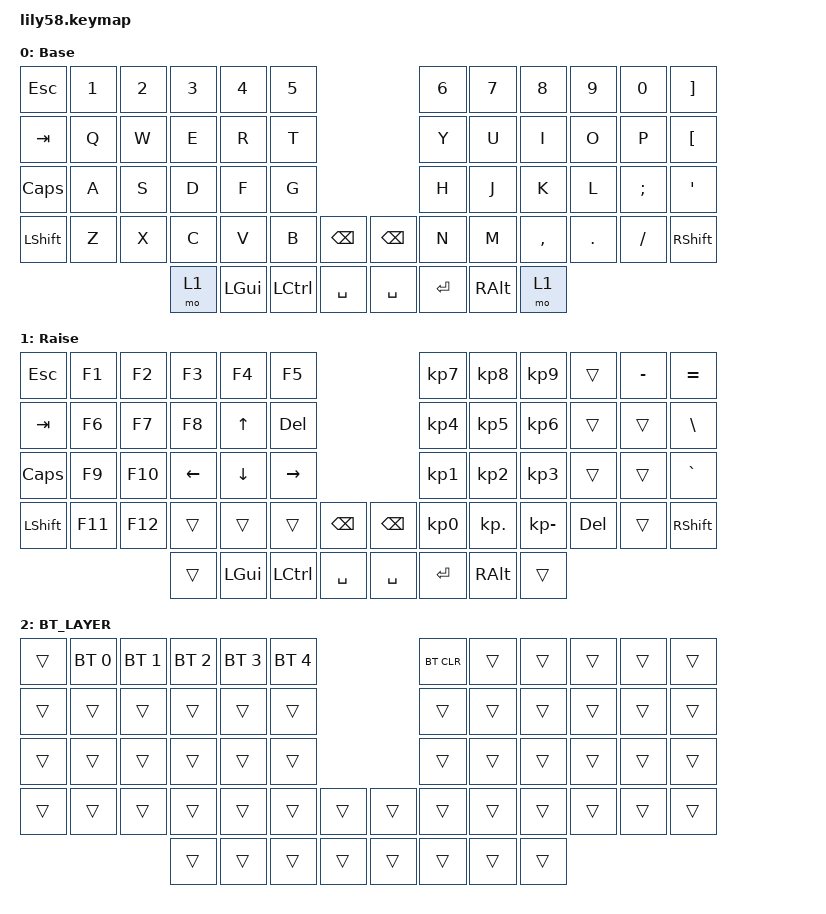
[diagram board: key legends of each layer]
/*
 * Copyright (c) 2020 The ZMK Contributors
 *
 * SPDX-License-Identifier: MIT
 */

#include <behaviors.dtsi>
#include <dt-bindings/zmk/bt.h>
#include <dt-bindings/zmk/keys.h>

/ {
    combos {
        compatible = "zmk,combos";

        BT_LAYER {
            bindings = <&mo 2>;
            key-positions = <50 57>;
        };
    };

    keymap {
        compatible = "zmk,keymap";

        default_layer {
            // ------------------------------------------------------------------------------------------------------------
            // |  ESC  |  1  |  2  |  3   |  4   |  5   |                   |  6   |  7    |  8    |  9   |   0   |   `   |
            // |  TAB  |  Q  |  W  |  E   |  R   |  T   |                   |  Y   |  U    |  I    |  O   |   P   |   -   |
            // |  CTRL |  A  |  S  |  D   |  F   |  G   |                   |  H   |  J    |  K    |  L   |   ;   |   '   |
            // | SHIFT |  Z  |  X  |  C   |  V   |  B   |   "["  |  |  "]"  |  N   |  M    |  ,    |  .   |   /   | SHIFT |
            //                     | ALT  | GUI  | LOWER|  SPACE |  | ENTER | RAISE| BSPC  | GUI   |

            display-name = "Base";
            bindings = <
&kp ESC    &kp N1  &kp N2  &kp N3  &kp N4    &kp N5                             &kp N6     &kp N7    &kp N8     &kp N9   &kp N0    &kp RBKT
&kp TAB    &kp Q   &kp W   &kp E   &kp R     &kp T                              &kp Y      &kp U     &kp I      &kp O    &kp P     &kp LBKT
&kp CAPS   &kp A   &kp S   &kp D   &kp F     &kp G                              &kp H      &kp J     &kp K      &kp L    &kp SEMI  &kp SQT
&kp LSHFT  &kp Z   &kp X   &kp C   &kp V     &kp B      &kp BSPC     &kp BSPC   &kp N      &kp M     &kp COMMA  &kp DOT  &kp FSLH  &kp RSHFT
                           &mo 1   &kp LGUI  &kp LCTRL  &kp SPACE    &kp SPACE  &kp ENTER  &kp RALT  &mo 1
            >;
        };

        raise_layer {
            // ------------------------------------------------------------------------------------------------------------
            // |       |     |     |      |      |      |                   |      |       |       |      |       |       |
            // |   `   |  1  |  2  |  3   |  4   |  5   |                   |  6   |   7   |   8   |  9   |   0   |       |
            // |   F1  |  F2 |  F3 |  F4  |  F5  |  F6  |                   |      |   <-  |   v   |  ^   |  ->   |       |
            // |   F7  |  F8 |  F9 |  F10 |  F11 |  F12 |        |  |       |  +   |   -   |   =   |  [   |   ]   |   \   |
            //                     |      |      |      |        |  |       |      |       |       |

            display-name = "Raise";
            bindings = <
&kp ESC    &kp F1   &kp F2   &kp F3    &kp F4    &kp F5                             &kp KP_N7  &kp KP_N8   &kp KP_N9     &trans   &kp MINUS  &kp EQUAL
&kp TAB    &kp F6   &kp F7   &kp F8    &kp UP    &kp DEL                            &kp KP_N4  &kp KP_N5   &kp KP_N6     &trans   &trans     &kp BSLH
&kp CAPS   &kp F9   &kp F10  &kp LEFT  &kp DOWN  &kp RIGHT                          &kp KP_N1  &kp KP_N2   &kp KP_N3     &trans   &trans     &kp GRAVE
&kp LSHFT  &kp F11  &kp F12  &trans    &trans    &trans     &kp BSPC     &kp BSPC   &kp KP_N0  &kp KP_DOT  &kp KP_MINUS  &kp DEL  &trans     &kp RSHFT
                             &trans    &kp LGUI  &kp LCTRL  &kp SPACE    &kp SPACE  &kp RET    &kp RALT    &trans
            >;
        };

        BT_LAYER {
            bindings = <
&trans  &bt BT_SEL 0  &bt BT_SEL 1  &bt BT_SEL 2  &bt BT_SEL 3  &bt BT_SEL 4                    &bt BT_CLR  &trans  &trans  &trans  &trans  &trans
&trans  &trans        &trans        &trans        &trans        &trans                          &trans      &trans  &trans  &trans  &trans  &trans
&trans  &trans        &trans        &trans        &trans        &trans                          &trans      &trans  &trans  &trans  &trans  &trans
&trans  &trans        &trans        &trans        &trans        &trans        &trans    &trans  &trans      &trans  &trans  &trans  &trans  &trans
                                    &trans        &trans        &trans        &trans    &trans  &trans      &trans  &trans
            >;
        };
    };

    conditional_layers { compatible = "zmk,conditional-layers"; };
};
